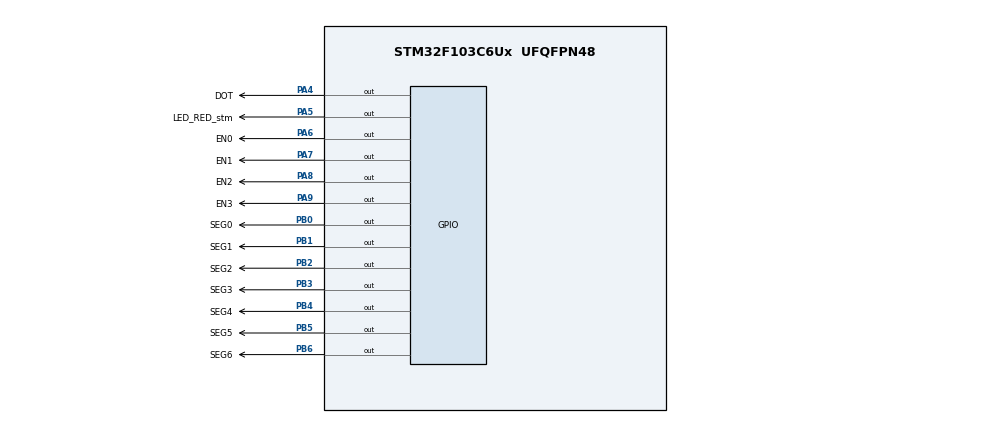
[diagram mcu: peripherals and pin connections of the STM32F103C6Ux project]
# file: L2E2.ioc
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Mcu.Family=STM32F1
Mcu.Name=STM32F103C6Ux
Mcu.Package=UFQFPN48
NVIC.PriorityGroup=NVIC_PRIORITYGROUP_4
NVIC.TIM2_IRQn=true\:0\:0\:false\:false\:true\:true\:true
PA4.GPIO_Label=DOT
PA4.Signal=GPIO_Output
PA5.GPIO_Label=LED_RED_stm
PA5.Signal=GPIO_Output
PA6.GPIO_Label=EN0
PA6.Signal=GPIO_Output
PA7.GPIO_Label=EN1
PA7.Signal=GPIO_Output
PA8.GPIO_Label=EN2
PA8.Signal=GPIO_Output
PA9.GPIO_Label=EN3
PA9.Signal=GPIO_Output
PB0.GPIO_Label=SEG0
PB0.Signal=GPIO_Output
PB1.GPIO_Label=SEG1
PB1.Signal=GPIO_Output
PB2.GPIO_Label=SEG2
PB2.Signal=GPIO_Output
PB3.GPIO_Label=SEG3
PB3.Signal=GPIO_Output
PB4.GPIO_Label=SEG4
PB4.Signal=GPIO_Output
PB5.GPIO_Label=SEG5
PB5.Signal=GPIO_Output
PB6.GPIO_Label=SEG6
PB6.Signal=GPIO_Output
ProjectManager.HeapSize=0x200
ProjectManager.StackSize=0x400
ProjectManager.TargetToolchain=STM32CubeIDE
RCC.APB1Freq_Value=8000000
RCC.APB2Freq_Value=8000000
TIM2.Period=9
TIM2.Prescaler=7999
VP_SYS_VS_ND.Mode=No_Debug
VP_TIM2_VS_ClockSourceINT.Mode=Internal
board=custom

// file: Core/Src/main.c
/* USER CODE BEGIN Header */
/**
  ******************************************************************************
  * @file           : main.c
  * @brief          : Main program body
  ******************************************************************************
  * @attention
  *
  * <h2><center>&copy; Copyright (c) 2023 STMicroelectronics.
  * All rights reserved.</center></h2>
  *
  * This software component is licensed by ST under BSD 3-Clause license,
  * the "License"; You may not use this file except in compliance with the
  * License. You may obtain a copy of the License at:
  *                        opensource.org/licenses/BSD-3-Clause
  *
  ******************************************************************************
  */
/* USER CODE END Header */
#include "main.h"

/* USER CODE BEGIN Includes */
#include "software_timer.h"
/* USER CODE END Includes */

TIM_HandleTypeDef htim2;

void SystemClock_Config(void);
static void MX_GPIO_Init(void);
static void MX_TIM2_Init(void);
/* USER CODE BEGIN PFP */
void display7SEG(int);
/* USER CODE END PFP */

int main(void)
{

  /* MCU Configuration--------------------------------------------------------*/

  /* Reset of all peripherals, Initializes the Flash interface and the Systick. */
  HAL_Init();

  /* Configure the system clock */
  SystemClock_Config();

  /* Initialize all configured peripherals */
  MX_GPIO_Init();
  MX_TIM2_Init();
  /* USER CODE BEGIN 2 */
  HAL_TIM_Base_Start_IT (& htim2 ) ;
  /* USER CODE END 2 */

  /* Infinite loop */
  /* USER CODE BEGIN WHILE */
  int ledOn = 3;
  setTimer1(50);
  setTimer2(100);

  while (1)
  {
    /* USER CODE END WHILE */
	  if (timer1_flag == 1){
		  switch (ledOn){
		  case 0:
			  HAL_GPIO_WritePin(GPIOA , EN1_Pin , GPIO_PIN_RESET);
			  HAL_GPIO_WritePin(GPIOA , EN0_Pin | EN2_Pin | EN3_Pin , GPIO_PIN_SET);
			  display7SEG(2);
			  ledOn = 1;
			  break;

		  case 1:
			  HAL_GPIO_WritePin(GPIOA , EN2_Pin , GPIO_PIN_RESET);
			  HAL_GPIO_WritePin(GPIOA , EN0_Pin | EN1_Pin | EN3_Pin , GPIO_PIN_SET);
			  display7SEG(3);
			  ledOn = 2;
			  break;

		  case 2:
			  HAL_GPIO_WritePin(GPIOA , EN3_Pin , GPIO_PIN_RESET);
			  HAL_GPIO_WritePin(GPIOA , EN0_Pin | EN1_Pin | EN2_Pin , GPIO_PIN_SET);
			  display7SEG(0);
			  ledOn = 3;
			  break;

		  case 3:
			  HAL_GPIO_WritePin(GPIOA , EN0_Pin , GPIO_PIN_RESET);
			  HAL_GPIO_WritePin(GPIOA , EN1_Pin | EN2_Pin | EN3_Pin , GPIO_PIN_SET);
			  display7SEG(1);
			  ledOn = 0;
			  break;

		  default:
			  HAL_GPIO_WritePin(GPIOA , EN0_Pin | EN1_Pin | EN2_Pin | EN3_Pin , GPIO_PIN_SET);
			  ledOn = 0;
			  break;
		  }
	  setTimer1(50);
	  }

	  if (timer2_flag == 1){
		  HAL_GPIO_TogglePin(GPIOA, DOT_Pin);
		  setTimer2(100);
	  }
  }
}

void SystemClock_Config(void)
{
  RCC_OscInitTypeDef RCC_OscInitStruct = {0};
  RCC_ClkInitTypeDef RCC_ClkInitStruct = {0};

  /** Initializes the RCC Oscillators according to the specified parameters
  * in the RCC_OscInitTypeDef structure.
  */
  RCC_OscInitStruct.OscillatorType = RCC_OSCILLATORTYPE_HSI;
  RCC_OscInitStruct.HSIState = RCC_HSI_ON;
  RCC_OscInitStruct.HSICalibrationValue = RCC_HSICALIBRATION_DEFAULT;
  RCC_OscInitStruct.PLL.PLLState = RCC_PLL_NONE;
  if (HAL_RCC_OscConfig(&RCC_OscInitStruct) != HAL_OK)
  {
    Error_Handler();
  }
  /** Initializes the CPU, AHB and APB buses clocks
  */
  RCC_ClkInitStruct.ClockType = RCC_CLOCKTYPE_HCLK|RCC_CLOCKTYPE_SYSCLK
                              |RCC_CLOCKTYPE_PCLK1|RCC_CLOCKTYPE_PCLK2;
  RCC_ClkInitStruct.SYSCLKSource = RCC_SYSCLKSOURCE_HSI;
  RCC_ClkInitStruct.AHBCLKDivider = RCC_SYSCLK_DIV1;
  RCC_ClkInitStruct.APB1CLKDivider = RCC_HCLK_DIV1;
  RCC_ClkInitStruct.APB2CLKDivider = RCC_HCLK_DIV1;

  if (HAL_RCC_ClockConfig(&RCC_ClkInitStruct, FLASH_LATENCY_0) != HAL_OK)
  {
    Error_Handler();
  }
}

static void MX_TIM2_Init(void)
{

  TIM_ClockConfigTypeDef sClockSourceConfig = {0};
  TIM_MasterConfigTypeDef sMasterConfig = {0};

  htim2.Instance = TIM2;
  htim2.Init.Prescaler = 7999;
  htim2.Init.CounterMode = TIM_COUNTERMODE_UP;
  htim2.Init.Period = 9;
  htim2.Init.ClockDivision = TIM_CLOCKDIVISION_DIV1;
  htim2.Init.AutoReloadPreload = TIM_AUTORELOAD_PRELOAD_DISABLE;
  if (HAL_TIM_Base_Init(&htim2) != HAL_OK)
  {
    Error_Handler();
  }
  sClockSourceConfig.ClockSource = TIM_CLOCKSOURCE_INTERNAL;
  if (HAL_TIM_ConfigClockSource(&htim2, &sClockSourceConfig) != HAL_OK)
  {
    Error_Handler();
  }
  sMasterConfig.MasterOutputTrigger = TIM_TRGO_RESET;
  sMasterConfig.MasterSlaveMode = TIM_MASTERSLAVEMODE_DISABLE;
  if (HAL_TIMEx_MasterConfigSynchronization(&htim2, &sMasterConfig) != HAL_OK)
  {
    Error_Handler();
  }

}

static void MX_GPIO_Init(void)
{
  GPIO_InitTypeDef GPIO_InitStruct = {0};

  /* GPIO Ports Clock Enable */
  __HAL_RCC_GPIOA_CLK_ENABLE();
  __HAL_RCC_GPIOB_CLK_ENABLE();

  /*Configure GPIO pin Output Level */
  HAL_GPIO_WritePin(GPIOA, DOT_Pin|LED_RED_stm_Pin|EN0_Pin|EN1_Pin
                          |EN2_Pin|EN3_Pin, GPIO_PIN_RESET);

  /*Configure GPIO pin Output Level */
  HAL_GPIO_WritePin(GPIOB, SEG0_Pin|SEG1_Pin|SEG2_Pin|SEG3_Pin
                          |SEG4_Pin|SEG5_Pin|SEG6_Pin, GPIO_PIN_RESET);

  /*Configure GPIO pins : DOT_Pin LED_RED_stm_Pin EN0_Pin EN1_Pin
                           EN2_Pin EN3_Pin */
  GPIO_InitStruct.Pin = DOT_Pin|LED_RED_stm_Pin|EN0_Pin|EN1_Pin
                          |EN2_Pin|EN3_Pin;
  GPIO_InitStruct.Mode = GPIO_MODE_OUTPUT_PP;
  GPIO_InitStruct.Pull = GPIO_NOPULL;
  GPIO_InitStruct.Speed = GPIO_SPEED_FREQ_LOW;
  HAL_GPIO_Init(GPIOA, &GPIO_InitStruct);

  /*Configure GPIO pins : SEG0_Pin SEG1_Pin SEG2_Pin SEG3_Pin
                           SEG4_Pin SEG5_Pin SEG6_Pin */
  GPIO_InitStruct.Pin = SEG0_Pin|SEG1_Pin|SEG2_Pin|SEG3_Pin
                          |SEG4_Pin|SEG5_Pin|SEG6_Pin;
  GPIO_InitStruct.Mode = GPIO_MODE_OUTPUT_PP;
  GPIO_InitStruct.Pull = GPIO_NOPULL;
  GPIO_InitStruct.Speed = GPIO_SPEED_FREQ_LOW;
  HAL_GPIO_Init(GPIOB, &GPIO_InitStruct);

}

/* USER CODE BEGIN 4 */
void display7SEG(int counter){
	switch (counter){
		case 0:
			HAL_GPIO_WritePin(GPIOB , SEG0_Pin | SEG1_Pin | SEG2_Pin | SEG3_Pin |
							  SEG4_Pin | SEG5_Pin , GPIO_PIN_RESET);
			HAL_GPIO_WritePin(GPIOB , SEG6_Pin , GPIO_PIN_SET);
			break;

		case 1:
			HAL_GPIO_WritePin(GPIOB , SEG1_Pin | SEG2_Pin , GPIO_PIN_RESET);
			HAL_GPIO_WritePin(GPIOB , SEG0_Pin | SEG3_Pin | SEG4_Pin | SEG5_Pin | SEG6_Pin , GPIO_PIN_SET);
			break;

		case 2:
			HAL_GPIO_WritePin(GPIOB , SEG0_Pin | SEG1_Pin | SEG3_Pin | SEG4_Pin | SEG6_Pin , GPIO_PIN_RESET);
			HAL_GPIO_WritePin(GPIOB , SEG2_Pin | SEG5_Pin , GPIO_PIN_SET);
			break;

		case 3:
			HAL_GPIO_WritePin(GPIOB , SEG0_Pin | SEG1_Pin | SEG2_Pin | SEG3_Pin | SEG6_Pin , GPIO_PIN_RESET);
			HAL_GPIO_WritePin(GPIOB , SEG4_Pin | SEG5_Pin , GPIO_PIN_SET);
			break;

		case 4:
			HAL_GPIO_WritePin(GPIOB , SEG1_Pin | SEG2_Pin | SEG5_Pin | SEG6_Pin , GPIO_PIN_RESET);
			HAL_GPIO_WritePin(GPIOB , SEG0_Pin | SEG3_Pin | SEG4_Pin , GPIO_PIN_SET);
			break;

		case 5:
			HAL_GPIO_WritePin(GPIOB , SEG0_Pin | SEG2_Pin | SEG3_Pin | SEG5_Pin | SEG6_Pin , GPIO_PIN_RESET);
			HAL_GPIO_WritePin(GPIOB , SEG1_Pin | SEG4_Pin , GPIO_PIN_SET);
			break;

		case 6:
			HAL_GPIO_WritePin(GPIOB , SEG0_Pin | SEG2_Pin | SEG3_Pin | SEG4_Pin |
							  SEG5_Pin | SEG6_Pin , GPIO_PIN_RESET);
			HAL_GPIO_WritePin(GPIOB , SEG1_Pin , GPIO_PIN_SET);
			break;

		case 7:
			HAL_GPIO_WritePin(GPIOB , SEG0_Pin | SEG1_Pin | SEG2_Pin , GPIO_PIN_RESET);
			HAL_GPIO_WritePin(GPIOB , SEG3_Pin | SEG4_Pin | SEG5_Pin | SEG6_Pin , GPIO_PIN_SET);
			break;

		case 8:
			HAL_GPIO_WritePin(GPIOB , SEG0_Pin | SEG1_Pin | SEG2_Pin | SEG3_Pin |
							  SEG4_Pin | SEG5_Pin | SEG6_Pin , GPIO_PIN_RESET);
			break;

		case 9:
			HAL_GPIO_WritePin(GPIOB , SEG0_Pin | SEG1_Pin | SEG2_Pin | SEG3_Pin |
							  SEG5_Pin | SEG6_Pin , GPIO_PIN_RESET);
			HAL_GPIO_WritePin(GPIOB , SEG4_Pin , GPIO_PIN_SET);
			break;
	}
}

void HAL_TIM_PeriodElapsedCallback ( TIM_HandleTypeDef * htim2 ){
	timerRun1();
	timerRun2();
}
/* USER CODE END 4 */

void Error_Handler(void)
{
  __disable_irq();
  while (1)
  {
  }
}

/************************ (C) COPYRIGHT STMicroelectronics *****END OF FILE****/
